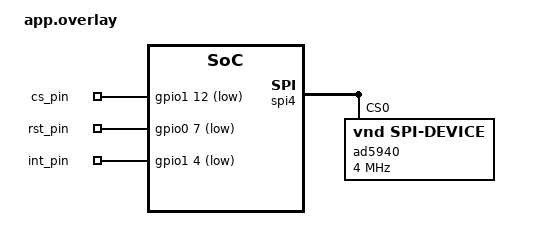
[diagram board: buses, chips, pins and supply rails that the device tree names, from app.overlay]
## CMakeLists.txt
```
cmake_minimum_required(VERSION 3.20.0)
find_package(Zephyr REQUIRED HINTS $ENV{ZEPHYR_BASE})

project(BIOAnRF5340)

# 1. Definiciones globales
target_compile_definitions(app PRIVATE CHIPSEL_594X)

# 2. Asegúrate de incluir la carpeta de cabeceras para que todos se vean entre sí
target_include_directories(app PRIVATE 
    src/AD5940 
    src
)

# 3. Lista de fuentes (Asegúrate de que los nombres coincidan exactamente con los archivos en disco)
target_sources(app PRIVATE
    src/main.c
    src/AD5940/ad5940.c
    src/AD5940/BodyImpedance.c
    src/AD5940/ad5940_port.c   # <--- Verifica que el archivo se llame así en la carpeta
)
```

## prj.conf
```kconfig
CONFIG_GPIO=y
CONFIG_SPI=y
CONFIG_LOG=y
CONFIG_FPU=y
CONFIG_NEWLIB_LIBC=y
CONFIG_NEWLIB_LIBC_FLOAT_PRINTF=y

CONFIG_MAIN_STACK_SIZE=4096
CONFIG_SYSTEM_WORKQUEUE_STACK_SIZE=2048

CONFIG_SERIAL=y
CONFIG_CONSOLE=y
CONFIG_UART_CONSOLE=y
CONFIG_PRINTK=y
CONFIG_LOG_BACKEND_UART=y
CONFIG_BOOT_BANNER=y
CONFIG_FAULT_DUMP=2
```

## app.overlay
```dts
&spi4 {
	status = "okay";
	/* cs-gpios already defined in base DTS: &arduino_header 0x10 GPIO_ACTIVE_LOW = P1.12 */

	ad5940: ad5940@0 {
		compatible = "vnd,spi-device";
		reg = <0>;
		spi-max-frequency = <4000000>;
	};
};

/ {
	ad5940_gpios {
		compatible = "gpio-leds";
		cs_pin: cs_pin {
            gpios = <&gpio1 12 GPIO_ACTIVE_LOW>;
        };
		rst_pin: rst_pin {
			gpios = <&gpio0 7 GPIO_ACTIVE_LOW>;
		};
		int_pin: int_pin {
			gpios = <&gpio1 4 (GPIO_PULL_UP | GPIO_ACTIVE_LOW)>;
		};
	};
};
```

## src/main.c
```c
#include <zephyr/kernel.h>
#include <zephyr/logging/log.h>
#include "ad5940.h"
#include "BodyImpedance.h"

LOG_MODULE_REGISTER(bia_app, LOG_LEVEL_INF);

#define APPBUFF_SIZE 512
static uint32_t AppBuff[APPBUFF_SIZE];

/* Externs del port y la app */
extern uint32_t AD5940_MCUResourceInit(void *pCfg);

/* --- Configuración de la plataforma con Trazas de Control --- */
static int32_t AD5940PlatformCfg(void)
{
    CLKCfg_Type clk_cfg;
    FIFOCfg_Type fifo_cfg;
    AGPIOCfg_Type gpio_cfg;

    LOG_INF("  [Punto A] Ejecutando HWReset...");
    AD5940_HWReset();
    
    LOG_INF("  [Punto B] Ejecutando AD5940_Initialize...");
    AD5940_Initialize();

    LOG_INF("  [Punto C] Configurando Reloj...");
    clk_cfg.ADCClkDiv = ADCCLKDIV_1;
    clk_cfg.ADCCLkSrc = ADCCLKSRC_HFOSC;
    clk_cfg.SysClkDiv = SYSCLKDIV_1;
    clk_cfg.SysClkSrc = SYSCLKSRC_HFOSC;
    clk_cfg.HfOSC32MHzMode = bFALSE;
    clk_cfg.HFOSCEn = bTRUE;
    clk_cfg.HFXTALEn = bFALSE;
    clk_cfg.LFOSCEn = bTRUE;
    AD5940_CLKCfg(&clk_cfg);

    LOG_INF("  [Punto D] Configurando FIFO...");
    fifo_cfg.FIFOEn = bFALSE;
    fifo_cfg.FIFOMode = FIFOMODE_FIFO;
    fifo_cfg.FIFOSize = FIFOSIZE_4KB;
    fifo_cfg.FIFOSrc = FIFOSRC_DFT;
    fifo_cfg.FIFOThresh = 4; 
    AD5940_FIFOCfg(&fifo_cfg);
    fifo_cfg.FIFOEn = bTRUE;  
    AD5940_FIFOCfg(&fifo_cfg);
    
    LOG_INF("  [Punto E] Configurando Interrupt Controller...");
    AD5940_INTCCfg(AFEINTC_1, AFEINTSRC_ALLINT, bTRUE);
    AD5940_INTCCfg(AFEINTC_0, AFEINTSRC_DATAFIFOTHRESH, bTRUE);
    AD5940_INTCClrFlag(AFEINTSRC_ALLINT);

    LOG_INF("  [Punto F] Configurando AGPIOs...");
    gpio_cfg.FuncSet = GP6_SYNC|GP5_SYNC|GP4_SYNC|GP2_TRIG|GP1_SYNC|GP0_INT;
    gpio_cfg.InputEnSet = AGPIO_Pin2;
    gpio_cfg.OutputEnSet = AGPIO_Pin0|AGPIO_Pin1|AGPIO_Pin4|AGPIO_Pin5|AGPIO_Pin6;
    gpio_cfg.OutVal = 0;
    gpio_cfg.PullEnSet = 0;
    AD5940_AGPIOCfg(&gpio_cfg);

    AD5940_SleepKeyCtrlS(SLPKEY_UNLOCK); 
    return 0;
}

void main(void)
{
    uint32_t temp;
    AppBIACfg_Type *pBIACfg;

    LOG_INF("=== PASO 1: Inicializando MCU Resource ===");
    if (AD5940_MCUResourceInit(NULL) != 0) {
        LOG_ERR("Fallo crítico en MCUResourceInit");
        return;
    }

    LOG_INF("=== PASO 2: Entrando en AD5940PlatformCfg ===");
    AD5940PlatformCfg();
    LOG_INF("=== PASO 3: Configuración de plataforma OK ===");

    LOG_INF("=== PASO 4: Obteniendo Cursors de BIA ===");
    AppBIAGetCfg(&pBIACfg);
    pBIACfg->SeqStartAddr = 0;
    pBIACfg->MaxSeqLen = 512;
    pBIACfg->RcalVal = 10000.0;
    pBIACfg->DftNum = DFTNUM_8192;
    pBIACfg->NumOfData = -1;
    pBIACfg->BiaODR = 20;
    pBIACfg->FifoThresh = 4;
    pBIACfg->ADCSinc3Osr = ADCSINC3OSR_2;

    LOG_INF("=== PASO 5: Entrando en AppBIAInit (Escritura de Sequencer) ===");
    AppBIAInit(AppBuff, APPBUFF_SIZE);
    LOG_INF("=== PASO 6: AppBIAInit OK ===");

    LOG_INF("=== PASO 7: Ejecutando AppBIACtrl START ===");
    AppBIACtrl(BIACTRL_START, 0);
    LOG_INF("=== PASO 8: Todo el sistema arrancado ===");

    while(1) {

        //LOG_INF("AD5940_GetMCUIntFlag() VALUE: %d", AD5940_GetMCUIntFlag());
        
        if(AD5940_GetMCUIntFlag()) {
            AD5940_ClrMCUIntFlag();
            temp = APPBUFF_SIZE;
            AppBIAISR(AppBuff, &temp); 
            
            fImpPol_Type *pImp = (fImpPol_Type*)AppBuff;
            for(int i=0; i<temp; i++) {
                LOG_INF("Impedancia: %.2f Ohm | Fase: %.2f deg", 
                        pImp[i].Magnitude, 
                        pImp[i].Phase * 180 / 3.14159); //Revisar
            }
        }

        static uint32_t diag_tick = 0;
        if(++diag_tick % 100 == 0) {
            uint32_t fifo_cnt = AD5940_FIFOGetCnt();
            uint32_t isr_status = AD5940_ReadReg(REG_INTC_INTCFLAG0); 
            uint32_t afe_stat = AD5940_ReadReg(REG_AFE_PSWSTA);        
            
            LOG_INF("--- DIAGNOSTICO BIA ---");
            LOG_INF("FIFO Count: %d", fifo_cnt);
            LOG_INF("Interrupt Flag (INTC0): 0x%08x", isr_status);
            LOG_INF("Switch Matrix (PSWSTA): 0x%08x", afe_stat);
        }
        k_sleep(K_MSEC(10));
    }
}
```

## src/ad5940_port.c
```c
#include "ad5940.h"
#include <zephyr/kernel.h>
#include <zephyr/device.h>
#include <zephyr/drivers/spi.h>
#include <zephyr/drivers/gpio.h>
#include <zephyr/logging/log.h>

LOG_MODULE_REGISTER(ad5940_port, LOG_LEVEL_INF);

/* 1. Obtenemos las referencias del Device Tree (app.overlay) */
#define SPI_NODE DT_NODELABEL(ad5940)
#define ZEPHYR_USER_NODE DT_PATH(zephyr_user)

static const struct spi_dt_spec spi_dev = SPI_DT_SPEC_GET(SPI_NODE, SPI_WORD_SET(8) | SPI_TRANSFER_MSB, 0);
static const struct gpio_dt_spec reset_pin = GPIO_DT_SPEC_GET(ZEPHYR_USER_NODE, reset_gpios);
static const struct gpio_dt_spec int_pin = GPIO_DT_SPEC_GET(ZEPHYR_USER_NODE, int_gpios);

/* NUEVO: Pin de Chip Select manual para evitar que Zephyr corte la señal */
static const struct gpio_dt_spec cs_pin = GPIO_DT_SPEC_GET(ZEPHYR_USER_NODE, cs_gpios);

/* 2. Variables para la interrupción */
static struct gpio_callback ad5940_int_cb_data;
volatile uint32_t ucInterrupted = 0; /* Bandera o flag de interrupción */

/* =========================================================================
 * Manejador de Interrupciones (Equivalente a Ext_Int0_Handler)
 * ========================================================================= */
void ad5940_int_callback(const struct device *dev, struct gpio_callback *cb, uint32_t pins)
{
    /* El AD5940 nos avisa que hay datos listos */
    ucInterrupted = 1;
}

/* =========================================================================
 * Implementación de las funciones "Port" exigidas por ad5940.h
 * ========================================================================= */

uint32_t AD5940_MCUResourceInit(void *pCfg)
{
    int ret;
    LOG_INF("Inicializando recursos de hardware para AD5940...");

    /* Configurar SPI */
    if (!spi_is_ready_dt(&spi_dev)) {
        LOG_ERR("Error: El bus SPI no está listo.");
        return 1; 
    }

    /* Configurar pin de Chip Select (CS) manual */
    if (!gpio_is_ready_dt(&cs_pin)) {
        LOG_ERR("Error: El pin de CS no está listo.");
        return 1;
    }
    gpio_pin_configure_dt(&cs_pin, GPIO_OUTPUT_INACTIVE);

    /* Configurar pin de Reset */
    if (!gpio_is_ready_dt(&reset_pin)) {
        LOG_ERR("Error: El pin de Reset no está listo.");
        return 1;
    }
    gpio_pin_configure_dt(&reset_pin, GPIO_OUTPUT_INACTIVE);

    /* Configurar pin de Interrupción (INTC) */
    if (!gpio_is_ready_dt(&int_pin)) {
        LOG_ERR("Error: El pin de Interrupción no está listo.");
        return 1;
    }
    gpio_pin_configure_dt(&int_pin, GPIO_INPUT);
    
    /* Configurar la interrupción para que salte en el flanco activo */
    ret = gpio_pin_interrupt_configure_dt(&int_pin, GPIO_INT_EDGE_TO_ACTIVE);
    if (ret != 0) {
        LOG_ERR("Error configurando la interrupción: %d", ret);
        return 1;
    }

    /* Enganchar la función de callback al pin */
    gpio_init_callback(&ad5940_int_cb_data, ad5940_int_callback, BIT(int_pin.pin));
    gpio_add_callback(int_pin.port, &ad5940_int_cb_data);

    /* Estado inicial: CS y Reset en alto para que el sensor no se vuelva loco al arrancar */
    AD5940_CsSet();
    AD5940_RstSet();

    LOG_INF("Recursos de Hardware (SPI, Reset, CS Manual e Interrupciones) OK.");
    return 0; 
}

void AD5940_CsClr(void) {
    /* 1 = Activa el pin (lo pone a 0V porque lo definimos como ACTIVE_LOW) */
    gpio_pin_set_dt(&cs_pin, 1); 
}

void AD5940_CsSet(void) {
    /* 0 = Desactiva el pin (lo pone a 3.3V) */
    gpio_pin_set_dt(&cs_pin, 0); 
}

void AD5940_RstClr(void) {
    gpio_pin_set_dt(&reset_pin, 1); /* Activa el Reset */
}

void AD5940_RstSet(void) {
    gpio_pin_set_dt(&reset_pin, 0); /* Desactiva el Reset */
}

void AD5940_Delay10us(uint32_t time) {
    k_busy_wait(time * 10);
}

uint32_t AD5940_GetMCUIntFlag(void) {
    return ucInterrupted;
}

uint32_t AD5940_ClrMCUIntFlag(void) {
    ucInterrupted = 0;
    return 1;
}

void AD5940_ReadWriteNBytes(unsigned char *pSendBuffer, unsigned char *pRecvBuff, unsigned long length)
{
    struct spi_buf tx_buf = { .buf = pSendBuffer, .len = length };
    struct spi_buf_set tx = { .buffers = &tx_buf, .count = 1 };

    struct spi_buf rx_buf = { .buf = pRecvBuff, .len = length };
    struct spi_buf_set rx = { .buffers = &rx_buf, .count = 1 };

    /* Al quitar el CS del Device Tree del bus SPI, esta función se limita 
       estrictamente a mover los datos sin tocar el pin de habilitación */
    int ret = spi_transceive_dt(&spi_dev, &tx, &rx);
    if (ret < 0) {
        LOG_ERR("Error SPI: %d", ret);
    }
}
```
